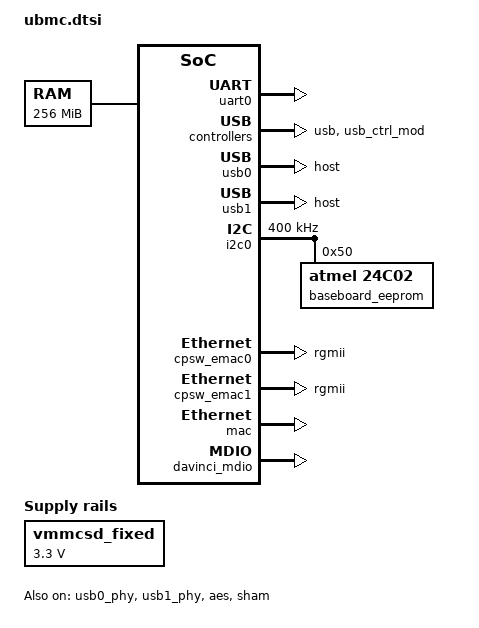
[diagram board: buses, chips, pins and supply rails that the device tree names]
/*
 * Copyright (C) 2012 Texas Instruments Incorporated - http://www.ti.com/
 *
 * This program is free software; you can redistribute it and/or modify
 * it under the terms of the GNU General Public License version 2 as
 * published by the Free Software Foundation.
 *
 * $FreeBSD$
 */

/ {
	memory {
		device_type = "memory";
		reg = <0x80000000 0x10000000>; /* 256 MB */
	};

	vmmcsd_fixed: fixedregulator@0 {
		compatible = "regulator-fixed";
		regulator-name = "vmmcsd_fixed";
		regulator-min-microvolt = <3300000>;
		regulator-max-microvolt = <3300000>;
	};
};

&am33xx_pinmux {
	pinctrl-names = "default";
	pinctrl-0 = <&clkout2_pin>;

	i2c0_pins: pinmux_i2c0_pins {
		pinctrl-single,pins = <
			AM33XX_IOPAD(0x988, PIN_INPUT_PULLUP | MUX_MODE0)	/* i2c0_sda.i2c0_sda */
			AM33XX_IOPAD(0x98c, PIN_INPUT_PULLUP | MUX_MODE0)	/* i2c0_scl.i2c0_scl */
		>;
	};

	i2c1_pins: pinmux_i2c1_pins {
		pinctrl-single,pins = <
			AM33XX_IOPAD(0x968, PIN_INPUT_PULLUP | MUX_MODE3)	/* uart0_ctsn.i2c1_sda */
			AM33XX_IOPAD(0x96c, PIN_INPUT_PULLUP | MUX_MODE3)	/* uart0_rtsn.i2c1_scl */
		>;
	};

	spi0_pins: pinmux_spi0_pins {
		pinctrl-single,pins = <
			AM33XX_IOPAD(0x950, PIN_INPUT_PULLDOWN | MUX_MODE0)	/* spi0_sclk.spi0_sclk */
			AM33XX_IOPAD(0x954, PIN_INPUT_PULLDOWN | MUX_MODE0)	/* spi0_d0.spi0_miso */
			AM33XX_IOPAD(0x958, PIN_INPUT_PULLUP | MUX_MODE0)	/* spi0_d1.spi0_mosi */
			AM33XX_IOPAD(0x95c, PIN_INPUT_PULLUP | MUX_MODE0)	/* spi0_cs0.spi0_cs0 */
		>;
	};

	spi1_pins: pinmux_spi1_pins {
		pinctrl-single,pins = <
			AM33XX_IOPAD(0x908, PIN_INPUT_PULLDOWN | MUX_MODE2)	/* mii1_col.spi1_sclk */
			AM33XX_IOPAD(0x90c, PIN_INPUT_PULLDOWN | MUX_MODE2)	/* mii1_crs.spi1_miso */
			AM33XX_IOPAD(0x910, PIN_INPUT_PULLUP | MUX_MODE2)	/* mii1_rx_er.spi1_mosi */
			AM33XX_IOPAD(0x944, PIN_INPUT_PULLUP | MUX_MODE2)	/* rmii1_ref_clk.spi1_cs0 */
		>;
	};

	uart0_pins: pinmux_uart0_pins {
		pinctrl-single,pins = <
			AM33XX_IOPAD(0x970, PIN_INPUT_PULLUP | MUX_MODE0)	/* uart0_rxd.uart0_rxd */
			AM33XX_IOPAD(0x974, PIN_OUTPUT_PULLDOWN | MUX_MODE0)	/* uart0_txd.uart0_txd */
		>;
	};

	clkout2_pin: pinmux_clkout2_pin {
		pinctrl-single,pins = <
			AM33XX_IOPAD(0x9b4, PIN_OUTPUT_PULLDOWN | MUX_MODE3)	/* xdma_event_intr1.clkout2 */
		>;
	};

	cpsw_default: cpsw_default {
		pinctrl-single,pins = <
			/* Slave 1 */
			AM33XX_IOPAD(0x914, PIN_OUTPUT_PULLDOWN | MUX_MODE2)	/* mii1_txen.rgmii_1_txen */
			AM33XX_IOPAD(0x918, PIN_INPUT_PULLUP | MUX_MODE2)	/* mii1_rxdv.rgmii_1_rxdv */
			AM33XX_IOPAD(0x91c, PIN_OUTPUT_PULLDOWN | MUX_MODE2)	/* mii1_txd3.rgmii_1_txd3 */
			AM33XX_IOPAD(0x920, PIN_OUTPUT_PULLDOWN | MUX_MODE2)	/* mii1_txd2.rgmii_1_txd2 */
			AM33XX_IOPAD(0x924, PIN_OUTPUT_PULLDOWN | MUX_MODE2)	/* mii1_txd1.rgmii_1_txd1 */
			AM33XX_IOPAD(0x928, PIN_OUTPUT_PULLDOWN | MUX_MODE2)	/* mii1_txd0.rgmii_1_txd0 */
			AM33XX_IOPAD(0x92c, PIN_OUTPUT_PULLDOWN | MUX_MODE2)	/* mii1_txclk.rgmii_1_txclk */
			AM33XX_IOPAD(0x930, PIN_INPUT_PULLUP | MUX_MODE2)	/* mii1_rxclk.rgmii_1_rxclk */
			AM33XX_IOPAD(0x934, PIN_INPUT_PULLUP | MUX_MODE2)	/* mii1_rxd3.rgmii_1_rxd3 */
			AM33XX_IOPAD(0x938, PIN_INPUT_PULLUP | MUX_MODE2)	/* mii1_rxd2.rgmii_1_rxd2 */
			AM33XX_IOPAD(0x93c, PIN_INPUT_PULLUP | MUX_MODE2)	/* mii1_rxd1.rgmii_1_rxd1 */
			AM33XX_IOPAD(0x940, PIN_INPUT_PULLUP | MUX_MODE2)	/* mii1_rxd0.rgmii_1_rxd0 */

			/* Slave 2 */
			AM33XX_IOPAD(0x840, PIN_OUTPUT_PULLDOWN | MUX_MODE2)	/* gmpc_a0.rgmii_2_txen */
			AM33XX_IOPAD(0x844, PIN_INPUT_PULLUP | MUX_MODE2)	/* gmpc_a1.rgmii_2_rxdv */
			AM33XX_IOPAD(0x848, PIN_OUTPUT_PULLDOWN | MUX_MODE2)	/* gmpc_a2.rgmii_2_txd3 */
			AM33XX_IOPAD(0x84c, PIN_OUTPUT_PULLDOWN | MUX_MODE2)	/* gmpc_a3.rgmii_2_txd2 */
			AM33XX_IOPAD(0x850, PIN_OUTPUT_PULLDOWN | MUX_MODE2)	/* gmpc_a4.rgmii_2_txd1 */
			AM33XX_IOPAD(0x854, PIN_OUTPUT_PULLDOWN | MUX_MODE2)	/* gmpc_a5.rgmii_2_txd0 */
			AM33XX_IOPAD(0x858, PIN_OUTPUT_PULLDOWN | MUX_MODE2)	/* gmpc_a6.rgmii_2_txclk */
			AM33XX_IOPAD(0x85c, PIN_INPUT_PULLUP | MUX_MODE2)	/* gmpc_a7.rgmii_2_rxclk */
			AM33XX_IOPAD(0x860, PIN_INPUT_PULLUP | MUX_MODE2)	/* gmpc_a8.rgmii_2_rxd3 */
			AM33XX_IOPAD(0x864, PIN_INPUT_PULLUP | MUX_MODE2)	/* gmpc_a9.rgmii_2_rxd2 */
			AM33XX_IOPAD(0x868, PIN_INPUT_PULLUP | MUX_MODE2)	/* gmpc_a10.rgmii_2_rxd1 */
			AM33XX_IOPAD(0x86c, PIN_INPUT_PULLUP | MUX_MODE2)	/* gmpc_a11.rgmii_2_rxd0 */
		>;
	};

	cpsw_sleep: cpsw_sleep {
		pinctrl-single,pins = <
			/* Slave 1 reset value */
			AM33XX_IOPAD(0x914, PIN_INPUT_PULLDOWN | MUX_MODE7)
			AM33XX_IOPAD(0x918, PIN_INPUT_PULLDOWN | MUX_MODE7)
			AM33XX_IOPAD(0x91c, PIN_INPUT_PULLDOWN | MUX_MODE7)
			AM33XX_IOPAD(0x920, PIN_INPUT_PULLDOWN | MUX_MODE7)
			AM33XX_IOPAD(0x924, PIN_INPUT_PULLDOWN | MUX_MODE7)
			AM33XX_IOPAD(0x928, PIN_INPUT_PULLDOWN | MUX_MODE7)
			AM33XX_IOPAD(0x92c, PIN_INPUT_PULLDOWN | MUX_MODE7)
			AM33XX_IOPAD(0x930, PIN_INPUT_PULLDOWN | MUX_MODE7)
			AM33XX_IOPAD(0x934, PIN_INPUT_PULLDOWN | MUX_MODE7)
			AM33XX_IOPAD(0x938, PIN_INPUT_PULLDOWN | MUX_MODE7)
			AM33XX_IOPAD(0x93c, PIN_INPUT_PULLDOWN | MUX_MODE7)
			AM33XX_IOPAD(0x940, PIN_INPUT_PULLDOWN | MUX_MODE7)

			/* Slave 2 reset value */
			AM33XX_IOPAD(0x840, PIN_INPUT_PULLDOWN | MUX_MODE7)
			AM33XX_IOPAD(0x844, PIN_INPUT_PULLDOWN | MUX_MODE7)
			AM33XX_IOPAD(0x848, PIN_INPUT_PULLDOWN | MUX_MODE7)
			AM33XX_IOPAD(0x84c, PIN_INPUT_PULLDOWN | MUX_MODE7)
			AM33XX_IOPAD(0x850, PIN_INPUT_PULLDOWN | MUX_MODE7)
			AM33XX_IOPAD(0x854, PIN_INPUT_PULLDOWN | MUX_MODE7)
			AM33XX_IOPAD(0x858, PIN_INPUT_PULLDOWN | MUX_MODE7)
			AM33XX_IOPAD(0x85c, PIN_INPUT_PULLDOWN | MUX_MODE7)
			AM33XX_IOPAD(0x860, PIN_INPUT_PULLDOWN | MUX_MODE7)
			AM33XX_IOPAD(0x864, PIN_INPUT_PULLDOWN | MUX_MODE7)
			AM33XX_IOPAD(0x868, PIN_INPUT_PULLDOWN | MUX_MODE7)
			AM33XX_IOPAD(0x86c, PIN_INPUT_PULLDOWN | MUX_MODE7)
		>;
	};

	davinci_mdio_default: davinci_mdio_default {
		pinctrl-single,pins = <
			/* MDIO */
			AM33XX_IOPAD(0x948, PIN_INPUT_PULLUP | SLEWCTRL_FAST | MUX_MODE0)	/* mdio_data.mdio_data */
			AM33XX_IOPAD(0x94c, PIN_OUTPUT_PULLUP | MUX_MODE0)			/* mdio_clk.mdio_clk */
		>;
	};

	davinci_mdio_sleep: davinci_mdio_sleep {
		pinctrl-single,pins = <
			/* MDIO reset value */
			AM33XX_IOPAD(0x948, PIN_INPUT_PULLDOWN | MUX_MODE7)
			AM33XX_IOPAD(0x94c, PIN_INPUT_PULLDOWN | MUX_MODE7)
		>;
	};

	mmc1_pins: pinmux_mmc1_pins {
		pinctrl-single,pins = <
			AM33XX_IOPAD(0x8f0, PIN_INPUT_PULLUP | MUX_MODE0) /* mmc0_dat3.mmc0_dat3 */
			AM33XX_IOPAD(0x8f4, PIN_INPUT_PULLUP | MUX_MODE0) /* mmc0_dat2.mmc0_dat2 */
			AM33XX_IOPAD(0x8f8, PIN_INPUT_PULLUP | MUX_MODE0) /* mmc0_dat1.mmc0_dat1 */
			AM33XX_IOPAD(0x8fc, PIN_INPUT_PULLUP | MUX_MODE0) /* mmc0_dat0.mmc0_dat0 */
			AM33XX_IOPAD(0x900, PIN_INPUT_PULLUP | MUX_MODE0) /* mmc0_clk.mmc0_clk */
			AM33XX_IOPAD(0x904, PIN_INPUT_PULLUP | MUX_MODE0) /* mmc0_cmd.mmc0_cmd */
			AM33XX_IOPAD(0x960, PIN_INPUT_PULLUP | MUX_MODE5) /* spi0_cs1.mmc0_cd */
		>;
	};

	emmc_pins: pinmux_emmc_pins {
		pinctrl-single,pins = <
			AM33XX_IOPAD(0x994, PIN_INPUT_PULLUP | MUX_MODE4) /* mcasp0_fsx.mmc1_cd */
			AM33XX_IOPAD(0x880, PIN_INPUT_PULLUP | MUX_MODE2) /* gpmc_csn1.mmc1_clk */
			AM33XX_IOPAD(0x884, PIN_INPUT_PULLUP | MUX_MODE2) /* gpmc_csn2.mmc1_cmd */
			AM33XX_IOPAD(0x800, PIN_INPUT_PULLUP | MUX_MODE1) /* gpmc_ad0.mmc1_dat0 */
			AM33XX_IOPAD(0x804, PIN_INPUT_PULLUP | MUX_MODE1) /* gpmc_ad1.mmc1_dat1 */
			AM33XX_IOPAD(0x808, PIN_INPUT_PULLUP | MUX_MODE1) /* gpmc_ad2.mmc1_dat2 */
			AM33XX_IOPAD(0x80c, PIN_INPUT_PULLUP | MUX_MODE1) /* gpmc_ad3.mmc1_dat3 */
			AM33XX_IOPAD(0x810, PIN_INPUT_PULLUP | MUX_MODE1) /* gpmc_ad4.mmc1_dat4 */
			AM33XX_IOPAD(0x814, PIN_INPUT_PULLUP | MUX_MODE1) /* gpmc_ad5.mmc1_dat5 */
			AM33XX_IOPAD(0x818, PIN_INPUT_PULLUP | MUX_MODE1) /* gpmc_ad6.mmc1_dat6 */
			AM33XX_IOPAD(0x81c, PIN_INPUT_PULLUP | MUX_MODE1) /* gpmc_ad7.mmc1_dat7 */
		>;
	};

	ecap0_pins: pinmux_ecap0_pins {
		pinctrl-single,pins = <
			AM33XX_IOPAD(0x964, PIN_INPUT | MUX_MODE0) /* ecap0_in_pwm0_out.ecap0_in_pwm0_out */
		>;
	};

	ecap1_pins: pinmux_ecap1_pins {
		pinctrl-single,pins = <
			AM33XX_IOPAD(0x960, PIN_INPUT | MUX_MODE2) /* spi0_cs1.ecap1_in_pwm1_out */
		>;
	};

	ehrpwm1_pins: pinmux_ehrpwm1_pins {
		pinctrl-single,pins = <
			AM33XX_IOPAD(0x8c8, PIN_OUTPUT | MUX_MODE2) /* lcd_data10.ehrpwm1a */
		>;
	};

	ecap2_pins: pinmux_ecap2_pins {
		pinctrl-single,pins = <
			AM33XX_IOPAD(0x99c, PIN_INPUT | MUX_MODE4) /* mcasp0_ahclkr.ecap2_in_pwm2_out */
		>;
	};

	ehrpwm2_pins: pinmux_ehrpwm2_pins {
		pinctrl-single,pins = <
			AM33XX_IOPAD(0x8a0, PIN_OUTPUT | MUX_MODE3) /* lcd_data0.ehrpwm2a */
		>;
	};
};

&uart0 {
	pinctrl-names = "default";
	pinctrl-0 = <&uart0_pins>;

	status = "okay";
};

&usb {
	status = "okay";
};

&usb_ctrl_mod {
	status = "okay";
};

&usb0_phy {
	status = "okay";
};

&usb1_phy {
	status = "okay";
};

&usb0 {
	status = "okay";
	dr_mode = "host";
};

&usb1 {
	status = "okay";
	dr_mode = "host";
};

&cppi41dma  {
	status = "okay";
};

&i2c0 {
	pinctrl-names = "default";
	pinctrl-0 = <&i2c0_pins>;

	status = "okay";
	clock-frequency = <400000>;

	baseboard_eeprom: baseboard_eeprom@50 {
		compatible = "atmel,24c02";
		reg = <0x50>;

		#address-cells = <1>;
		#size-cells = <1>;
		baseboard_data: baseboard_data@0 {
			reg = <0 0x100>;
		};
	};
};

&cpsw_emac0 {
	phy_id = <&davinci_mdio>, <1>;
	phy-mode = "rgmii";
	dual_emac_res_vlan = <1>;
};

&cpsw_emac1 {
	phy_id = <&davinci_mdio>, <2>;
	phy-mode = "rgmii";
	dual_emac_res_vlan = <2>;
};

&mac {
	pinctrl-names = "default", "sleep";
	pinctrl-0 = <&cpsw_default>;
	pinctrl-1 = <&cpsw_sleep>;
	active_slave = <1>;
	status = "okay";
	dual_emac;
	txen-skew-ps = <0>;
	rxdv-skew-ps = <1400>;
	rxd0-skew-ps = <1400>;
	rxd1-skew-ps = <1400>;
	rxd2-skew-ps = <1400>;
	rxd3-skew-ps = <1400>;
	txd0-skew-ps = <0>;
	txd1-skew-ps = <0>;
	txd2-skew-ps = <0>;
	txd3-skew-ps = <0>;
	rxc-skew-ps = <4400>;
	txc-skew-ps = <6200>;
};

&davinci_mdio {
	pinctrl-names = "default", "sleep";
	pinctrl-0 = <&davinci_mdio_default>;
	pinctrl-1 = <&davinci_mdio_sleep>;
	status = "okay";
};

&aes {
	status = "okay";
};

&sham {
	status = "okay";
};
